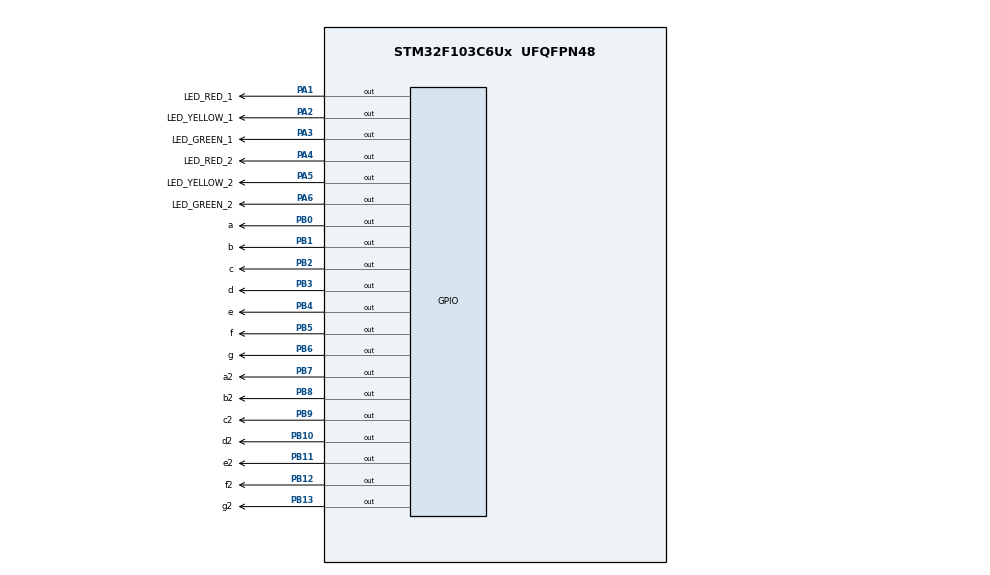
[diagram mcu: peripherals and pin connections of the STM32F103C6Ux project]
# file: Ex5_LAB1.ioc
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Mcu.Family=STM32F1
Mcu.Name=STM32F103C6Ux
Mcu.Package=UFQFPN48
NVIC.PriorityGroup=NVIC_PRIORITYGROUP_4
PA1.GPIO_Label=LED_RED_1
PA1.Signal=GPIO_Output
PA2.GPIO_Label=LED_YELLOW_1
PA2.Signal=GPIO_Output
PA3.GPIO_Label=LED_GREEN_1
PA3.Signal=GPIO_Output
PA4.GPIO_Label=LED_RED_2
PA4.Signal=GPIO_Output
PA5.GPIO_Label=LED_YELLOW_2
PA5.Signal=GPIO_Output
PA6.GPIO_Label=LED_GREEN_2
PA6.Signal=GPIO_Output
PB0.GPIO_Label=a
PB0.Signal=GPIO_Output
PB1.GPIO_Label=b
PB1.Signal=GPIO_Output
PB10.GPIO_Label=d2
PB10.Signal=GPIO_Output
PB11.GPIO_Label=e2
PB11.Signal=GPIO_Output
PB12.GPIO_Label=f2
PB12.Signal=GPIO_Output
PB13.GPIO_Label=g2
PB13.Signal=GPIO_Output
PB2.GPIO_Label=c
PB2.Signal=GPIO_Output
PB3.GPIO_Label=d
PB3.Signal=GPIO_Output
PB4.GPIO_Label=e
PB4.Signal=GPIO_Output
PB5.GPIO_Label=f
PB5.Signal=GPIO_Output
PB6.GPIO_Label=g
PB6.Signal=GPIO_Output
PB7.GPIO_Label=a2
PB7.Signal=GPIO_Output
PB8.GPIO_Label=b2
PB8.Signal=GPIO_Output
PB9.GPIO_Label=c2
PB9.Signal=GPIO_Output
ProjectManager.HeapSize=0x200
ProjectManager.StackSize=0x400
ProjectManager.TargetToolchain=STM32CubeIDE
RCC.APB1Freq_Value=8000000
RCC.APB2Freq_Value=8000000
VP_SYS_VS_ND.Mode=No_Debug
board=custom

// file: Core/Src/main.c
/* USER CODE BEGIN Header */
/**
  ******************************************************************************
  * @file           : main.c
  * @brief          : Main program body
  ******************************************************************************
  * @attention
  *
  * <h2><center>&copy; Copyright (c) 2022 STMicroelectronics.
  * All rights reserved.</center></h2>
  *
  * This software component is licensed by ST under BSD 3-Clause license,
  * the "License"; You may not use this file except in compliance with the
  * License. You may obtain a copy of the License at:
  *                        opensource.org/licenses/BSD-3-Clause
  *
  ******************************************************************************
  */
/* USER CODE END Header */
#include "main.h"

/* USER CODE BEGIN PD */
#define setCounterRed 5
#define setCounterGreen 3
#define setCounterYellow 2
#define threshold 0
/* USER CODE END PD */

void SystemClock_Config(void);
static void MX_GPIO_Init(void);

/* USER CODE BEGIN 0 */

// Count down for West-East direction
void display7SEG1 (int num){
	switch (num){
		case 0:
			HAL_GPIO_WritePin(a_GPIO_Port, a_Pin, RESET);
			HAL_GPIO_WritePin(b_GPIO_Port, b_Pin, RESET);
			HAL_GPIO_WritePin(c_GPIO_Port, c_Pin, RESET);
			HAL_GPIO_WritePin(d_GPIO_Port, d_Pin, RESET);
			HAL_GPIO_WritePin(e_GPIO_Port, e_Pin, RESET);
			HAL_GPIO_WritePin(f_GPIO_Port, f_Pin, RESET);
			HAL_GPIO_WritePin(g_GPIO_Port, g_Pin, SET);
			break;
		case 1:
			HAL_GPIO_WritePin(a_GPIO_Port, a_Pin, SET);
			HAL_GPIO_WritePin(b_GPIO_Port, b_Pin, RESET);
			HAL_GPIO_WritePin(c_GPIO_Port, c_Pin, RESET);
			HAL_GPIO_WritePin(d_GPIO_Port, d_Pin, SET);
			HAL_GPIO_WritePin(e_GPIO_Port, e_Pin, SET);
			HAL_GPIO_WritePin(f_GPIO_Port, f_Pin, SET);
			HAL_GPIO_WritePin(g_GPIO_Port, g_Pin, SET);
			break;
		case 2:
			HAL_GPIO_WritePin(a_GPIO_Port, a_Pin, RESET);
			HAL_GPIO_WritePin(b_GPIO_Port, b_Pin, RESET);
			HAL_GPIO_WritePin(c_GPIO_Port, c_Pin, SET);
			HAL_GPIO_WritePin(d_GPIO_Port, d_Pin, RESET);
			HAL_GPIO_WritePin(e_GPIO_Port, e_Pin, RESET);
			HAL_GPIO_WritePin(f_GPIO_Port, f_Pin, SET);
			HAL_GPIO_WritePin(g_GPIO_Port, g_Pin, RESET);
			break;
		case 3:
			HAL_GPIO_WritePin(a_GPIO_Port, a_Pin, RESET);
			HAL_GPIO_WritePin(b_GPIO_Port, b_Pin, RESET);
			HAL_GPIO_WritePin(c_GPIO_Port, c_Pin, RESET);
			HAL_GPIO_WritePin(d_GPIO_Port, d_Pin, RESET);
			HAL_GPIO_WritePin(e_GPIO_Port, e_Pin, SET);
			HAL_GPIO_WritePin(f_GPIO_Port, f_Pin, SET);
			HAL_GPIO_WritePin(g_GPIO_Port, g_Pin, RESET);
			break;
		case 4:
			HAL_GPIO_WritePin(a_GPIO_Port, a_Pin, SET);
			HAL_GPIO_WritePin(b_GPIO_Port, b_Pin, RESET);
			HAL_GPIO_WritePin(c_GPIO_Port, c_Pin, RESET);
			HAL_GPIO_WritePin(d_GPIO_Port, d_Pin, SET);
			HAL_GPIO_WritePin(e_GPIO_Port, e_Pin, SET);
			HAL_GPIO_WritePin(f_GPIO_Port, f_Pin, RESET);
			HAL_GPIO_WritePin(g_GPIO_Port, g_Pin, RESET);
			break;
		case 5:
			HAL_GPIO_WritePin(a_GPIO_Port, a_Pin, RESET);
			HAL_GPIO_WritePin(b_GPIO_Port, b_Pin, SET);
			HAL_GPIO_WritePin(c_GPIO_Port, c_Pin, RESET);
			HAL_GPIO_WritePin(d_GPIO_Port, d_Pin, RESET);
			HAL_GPIO_WritePin(e_GPIO_Port, e_Pin, SET);
			HAL_GPIO_WritePin(f_GPIO_Port, f_Pin, RESET);
			HAL_GPIO_WritePin(g_GPIO_Port, g_Pin, RESET);
			break;
		default:
			break;
	}
}

//Count down for North-South direction
void display7SEG2 (int num){
	switch (num){
		case 0:
			HAL_GPIO_WritePin(a2_GPIO_Port, a2_Pin, RESET);
			HAL_GPIO_WritePin(b2_GPIO_Port, b2_Pin, RESET);
			HAL_GPIO_WritePin(c2_GPIO_Port, c2_Pin, RESET);
			HAL_GPIO_WritePin(d2_GPIO_Port, d2_Pin, RESET);
			HAL_GPIO_WritePin(e2_GPIO_Port, e2_Pin, RESET);
			HAL_GPIO_WritePin(f2_GPIO_Port, f2_Pin, RESET);
			HAL_GPIO_WritePin(g2_GPIO_Port, g2_Pin, SET);
			break;
		case 1:
			HAL_GPIO_WritePin(a2_GPIO_Port, a2_Pin, SET);
			HAL_GPIO_WritePin(b2_GPIO_Port, b2_Pin, RESET);
			HAL_GPIO_WritePin(c2_GPIO_Port, c2_Pin, RESET);
			HAL_GPIO_WritePin(d2_GPIO_Port, d2_Pin, SET);
			HAL_GPIO_WritePin(e2_GPIO_Port, e2_Pin, SET);
			HAL_GPIO_WritePin(f2_GPIO_Port, f2_Pin, SET);
			HAL_GPIO_WritePin(g2_GPIO_Port, g2_Pin, SET);
			break;
		case 2:
			HAL_GPIO_WritePin(a2_GPIO_Port, a2_Pin, RESET);
			HAL_GPIO_WritePin(b2_GPIO_Port, b2_Pin, RESET);
			HAL_GPIO_WritePin(c2_GPIO_Port, c2_Pin, SET);
			HAL_GPIO_WritePin(d2_GPIO_Port, d2_Pin, RESET);
			HAL_GPIO_WritePin(e2_GPIO_Port, e2_Pin, RESET);
			HAL_GPIO_WritePin(f2_GPIO_Port, f2_Pin, SET);
			HAL_GPIO_WritePin(g2_GPIO_Port, g2_Pin, RESET);
			break;
		case 3:
			HAL_GPIO_WritePin(a2_GPIO_Port, a2_Pin, RESET);
			HAL_GPIO_WritePin(b2_GPIO_Port, b2_Pin, RESET);
			HAL_GPIO_WritePin(c2_GPIO_Port, c2_Pin, RESET);
			HAL_GPIO_WritePin(d2_GPIO_Port, d2_Pin, RESET);
			HAL_GPIO_WritePin(e2_GPIO_Port, e2_Pin, SET);
			HAL_GPIO_WritePin(f2_GPIO_Port, f2_Pin, SET);
			HAL_GPIO_WritePin(g2_GPIO_Port, g2_Pin, RESET);
			break;
		case 4:
			HAL_GPIO_WritePin(a2_GPIO_Port, a2_Pin, SET);
			HAL_GPIO_WritePin(b2_GPIO_Port, b2_Pin, RESET);
			HAL_GPIO_WritePin(c2_GPIO_Port, c2_Pin, RESET);
			HAL_GPIO_WritePin(d2_GPIO_Port, d2_Pin, SET);
			HAL_GPIO_WritePin(e2_GPIO_Port, e2_Pin, SET);
			HAL_GPIO_WritePin(f2_GPIO_Port, f2_Pin, RESET);
			HAL_GPIO_WritePin(g2_GPIO_Port, g2_Pin, RESET);
			break;
		case 5:
			HAL_GPIO_WritePin(a2_GPIO_Port, a2_Pin, RESET);
			HAL_GPIO_WritePin(b2_GPIO_Port, b2_Pin, SET);
			HAL_GPIO_WritePin(c2_GPIO_Port, c2_Pin, RESET);
			HAL_GPIO_WritePin(d2_GPIO_Port, d2_Pin, RESET);
			HAL_GPIO_WritePin(e2_GPIO_Port, e2_Pin, SET);
			HAL_GPIO_WritePin(f2_GPIO_Port, f2_Pin, RESET);
			HAL_GPIO_WritePin(g2_GPIO_Port, g2_Pin, RESET);
			break;
		default:
			break;
	}
}

void enableRed1 (void){
	HAL_GPIO_WritePin(LED_RED_1_GPIO_Port, LED_RED_1_Pin, GPIO_PIN_RESET);
	HAL_GPIO_WritePin(LED_YELLOW_1_GPIO_Port, LED_YELLOW_1_Pin, GPIO_PIN_SET);
	HAL_GPIO_WritePin(LED_GREEN_1_GPIO_Port, LED_GREEN_1_Pin, GPIO_PIN_SET);
}

void enableYellow1 (void){
	HAL_GPIO_WritePin(LED_RED_1_GPIO_Port, LED_RED_1_Pin, GPIO_PIN_SET);
	HAL_GPIO_WritePin(LED_YELLOW_1_GPIO_Port, LED_YELLOW_1_Pin, GPIO_PIN_RESET);
	HAL_GPIO_WritePin(LED_GREEN_1_GPIO_Port, LED_GREEN_1_Pin, GPIO_PIN_SET);
}

void enableGreen1 (void){
	HAL_GPIO_WritePin(LED_RED_1_GPIO_Port, LED_RED_1_Pin, GPIO_PIN_SET);
	HAL_GPIO_WritePin(LED_YELLOW_1_GPIO_Port, LED_YELLOW_1_Pin, GPIO_PIN_SET);
	HAL_GPIO_WritePin(LED_GREEN_1_GPIO_Port, LED_GREEN_1_Pin, GPIO_PIN_RESET);
}

void enableRed2 (void){
	HAL_GPIO_WritePin(LED_RED_2_GPIO_Port, LED_RED_2_Pin, GPIO_PIN_RESET);
	HAL_GPIO_WritePin(LED_YELLOW_2_GPIO_Port, LED_YELLOW_2_Pin, GPIO_PIN_SET);
	HAL_GPIO_WritePin(LED_GREEN_2_GPIO_Port, LED_GREEN_2_Pin, GPIO_PIN_SET);
}

void enableYellow2 (void){
	HAL_GPIO_WritePin(LED_RED_2_GPIO_Port, LED_RED_2_Pin, GPIO_PIN_SET);
	HAL_GPIO_WritePin(LED_YELLOW_2_GPIO_Port, LED_YELLOW_2_Pin, GPIO_PIN_RESET);
	HAL_GPIO_WritePin(LED_GREEN_2_GPIO_Port, LED_GREEN_2_Pin, GPIO_PIN_SET);
}

void enableGreen2 (void){
	HAL_GPIO_WritePin(LED_RED_2_GPIO_Port, LED_RED_2_Pin, GPIO_PIN_SET);
	HAL_GPIO_WritePin(LED_YELLOW_2_GPIO_Port, LED_YELLOW_2_Pin, GPIO_PIN_SET);
	HAL_GPIO_WritePin(LED_GREEN_2_GPIO_Port, LED_GREEN_2_Pin, GPIO_PIN_RESET);
}

int enableTerm_Green2 (int value){
	if (value >= setCounterGreen) return 1;
	return 0;
}

int enableTerm_Yellow2 (int value){
	if (value <= setCounterYellow) return 1;
	return 0;
}
/* USER CODE END 0 */

int main(void)
{

  /* MCU Configuration--------------------------------------------------------*/

  /* Reset of all peripherals, Initializes the Flash interface and the Systick. */
  HAL_Init();

  /* Configure the system clock */
  SystemClock_Config();

  /* Initialize all configured peripherals */
  MX_GPIO_Init();

  /* Infinite loop */
  /* USER CODE BEGIN WHILE */

  enum displayState {state0, state1, state2};
  enum displayState status = state0;
  enum displayState status1= state1;
  // For West-East Direction:
  // status = 0 -> Red1:on, Yellow1: off, Green1: off
  // status = 1 -> Red1:off, Yellow1: off, Green1: on
  // status = 2 -> Red1:off, Yellow1: on, Green1: off

  // For North-South Direction:
  // status = 0 -> Red2:off, Green2: on(3s) -> Yellow2: on(2s),
  // status = 1 -> Red2:on, Yellow2: off, Green2: off
  // status = 2 -> Red2:on, Yellow2: off, Green2: off

  static int counterRED = setCounterRed;
  static int counterYellow = setCounterYellow;
  static int counterGreen = setCounterGreen;

  static int counterRED1 = setCounterRed;
  static int counterYellow1 = setCounterYellow;
  static int counterGreen1 = setCounterGreen;

  while (1)
  {
//	  switch (status){
//			case state0:
//				{
//					//West-East Direction
//					enableRed1();
//					// Countdown number for W-E when red led on is the same as counterRED
//					display7SEG1(counterRED);
//
//					if (enableTerm_Green2(counterRED)==1){
//						//North-South Direction
//						enableGreen2();
//
//						// Countdown number for N-S when green led on must start at 3
//						display7SEG2(counterRED - setCounterYellow);
//					}
//
//					if (enableTerm_Yellow2(counterRED)==1){
//						//North-South Direction
//						enableYellow2();
//
//						// When red led on W-E count to 2, it's also a countdown number for yellow led of N-S
//						display7SEG2(counterRED);
//					}
//
//					counterRED--;
//					if (counterRED == threshold){
//						counterRED = setCounterRed;
//						status = state1;
//					}
//				}
//				break;
//
//			case state1:
//				{
//					//West-East Direction
//					enableGreen1();
//
//					//Countdown number in W-E when green led on is same as counterGreen
//					display7SEG1(counterGreen);
//
//					//North-South Direction
//					enableRed2();
//
//					// Meanwhile, countdown in N-S when red led on must start at 5
//					display7SEG2(counterGreen + setCounterYellow);
//
//					counterGreen--;
//					if (counterGreen == threshold){
//						counterGreen = setCounterGreen;
//						status = state2;
//					}
//				}
//				break;
//
//			case state2:
//				{
//					//West-East Direction
//					enableYellow1();
//
//					//Countdown number for W-E when yellow led on is same as counterYellow
//					display7SEG1(counterYellow);
//
//					//North-South Direction
//					enableRed2();
//
//					// The 2 seconds duration of yellow led in W-E is also the last 2 of red led on N-S
//					display7SEG2(counterYellow);
//
//					counterYellow--;
//					if (counterYellow == threshold){
//						counterYellow = setCounterYellow;
//						status = state0;
//					}
//				}
//				break;
//			default:
//				break;
//	  }
	  switch (status){
		  case state0:
			  enableRed1();
			  display7SEG1(counterRED);
			  counterRED--;
			  if (counterRED == threshold){
				  counterRED = setCounterRed;
				  status = state1;
			  }
			  break;
		  case state1:
			  enableGreen1();
			  display7SEG1(counterGreen);
			  counterGreen--;
			  if (counterGreen == threshold){
				  counterGreen = setCounterGreen;
				  status = state2;
			  }
			  break;
		  case state2:
			  enableYellow1();
			  display7SEG1(counterYellow);
			  counterYellow--;
			  if (counterYellow == threshold){
				  counterYellow = setCounterYellow;
				  status = state0;
			  }
			  break;
		  default:
			  break;
	  }

	  switch (status1){
		  case state0:
			  enableRed2();
			  display7SEG2(counterRED1);
			  counterRED1--;
			  if (counterRED1 == threshold){
				  counterRED1 = setCounterRed;
				  status1 = state1;
			  }
			  break;
		  case state1:
			  enableGreen2();
			  display7SEG2(counterGreen1);
			  counterGreen1--;
			  if (counterGreen1 == threshold){
				  counterGreen1 = setCounterGreen;
				  status1 = state2;
			  }
			  break;
		  case state2:
			  enableYellow2();
			  display7SEG2(counterYellow1);
			  counterYellow1--;
			  if (counterYellow1 == threshold){
				  counterYellow1 = setCounterYellow;
				  status1 = state0;
			  }
			  break;
		  default:
			  break;
	  }
	  HAL_Delay(1000);
    /* USER CODE END WHILE */

  }
}

void SystemClock_Config(void)
{
  RCC_OscInitTypeDef RCC_OscInitStruct = {0};
  RCC_ClkInitTypeDef RCC_ClkInitStruct = {0};

  /** Initializes the RCC Oscillators according to the specified parameters
  * in the RCC_OscInitTypeDef structure.
  */
  RCC_OscInitStruct.OscillatorType = RCC_OSCILLATORTYPE_HSI;
  RCC_OscInitStruct.HSIState = RCC_HSI_ON;
  RCC_OscInitStruct.HSICalibrationValue = RCC_HSICALIBRATION_DEFAULT;
  RCC_OscInitStruct.PLL.PLLState = RCC_PLL_NONE;
  if (HAL_RCC_OscConfig(&RCC_OscInitStruct) != HAL_OK)
  {
    Error_Handler();
  }
  /** Initializes the CPU, AHB and APB buses clocks
  */
  RCC_ClkInitStruct.ClockType = RCC_CLOCKTYPE_HCLK|RCC_CLOCKTYPE_SYSCLK
                              |RCC_CLOCKTYPE_PCLK1|RCC_CLOCKTYPE_PCLK2;
  RCC_ClkInitStruct.SYSCLKSource = RCC_SYSCLKSOURCE_HSI;
  RCC_ClkInitStruct.AHBCLKDivider = RCC_SYSCLK_DIV1;
  RCC_ClkInitStruct.APB1CLKDivider = RCC_HCLK_DIV1;
  RCC_ClkInitStruct.APB2CLKDivider = RCC_HCLK_DIV1;

  if (HAL_RCC_ClockConfig(&RCC_ClkInitStruct, FLASH_LATENCY_0) != HAL_OK)
  {
    Error_Handler();
  }
}

static void MX_GPIO_Init(void)
{
  GPIO_InitTypeDef GPIO_InitStruct = {0};

  /* GPIO Ports Clock Enable */
  __HAL_RCC_GPIOA_CLK_ENABLE();
  __HAL_RCC_GPIOB_CLK_ENABLE();

  /*Configure GPIO pin Output Level */
  HAL_GPIO_WritePin(GPIOA, LED_RED_1_Pin|LED_YELLOW_1_Pin|LED_GREEN_1_Pin|LED_RED_2_Pin
                          |LED_YELLOW_2_Pin|LED_GREEN_2_Pin, GPIO_PIN_RESET);

  /*Configure GPIO pin Output Level */
  HAL_GPIO_WritePin(GPIOB, a_Pin|b_Pin|c_Pin|d2_Pin
                          |e2_Pin|f2_Pin|g2_Pin|d_Pin
                          |e_Pin|f_Pin|g_Pin|a2_Pin
                          |b2_Pin|c2_Pin, GPIO_PIN_RESET);

  /*Configure GPIO pins : LED_RED_1_Pin LED_YELLOW_1_Pin LED_GREEN_1_Pin LED_RED_2_Pin
                           LED_YELLOW_2_Pin LED_GREEN_2_Pin */
  GPIO_InitStruct.Pin = LED_RED_1_Pin|LED_YELLOW_1_Pin|LED_GREEN_1_Pin|LED_RED_2_Pin
                          |LED_YELLOW_2_Pin|LED_GREEN_2_Pin;
  GPIO_InitStruct.Mode = GPIO_MODE_OUTPUT_PP;
  GPIO_InitStruct.Pull = GPIO_NOPULL;
  GPIO_InitStruct.Speed = GPIO_SPEED_FREQ_LOW;
  HAL_GPIO_Init(GPIOA, &GPIO_InitStruct);

  /*Configure GPIO pins : a_Pin b_Pin c_Pin d2_Pin
                           e2_Pin f2_Pin g2_Pin d_Pin
                           e_Pin f_Pin g_Pin a2_Pin
                           b2_Pin c2_Pin */
  GPIO_InitStruct.Pin = a_Pin|b_Pin|c_Pin|d2_Pin
                          |e2_Pin|f2_Pin|g2_Pin|d_Pin
                          |e_Pin|f_Pin|g_Pin|a2_Pin
                          |b2_Pin|c2_Pin;
  GPIO_InitStruct.Mode = GPIO_MODE_OUTPUT_PP;
  GPIO_InitStruct.Pull = GPIO_NOPULL;
  GPIO_InitStruct.Speed = GPIO_SPEED_FREQ_LOW;
  HAL_GPIO_Init(GPIOB, &GPIO_InitStruct);

}

void Error_Handler(void)
{
  __disable_irq();
  while (1)
  {
  }
}

/************************ (C) COPYRIGHT STMicroelectronics *****END OF FILE****/
